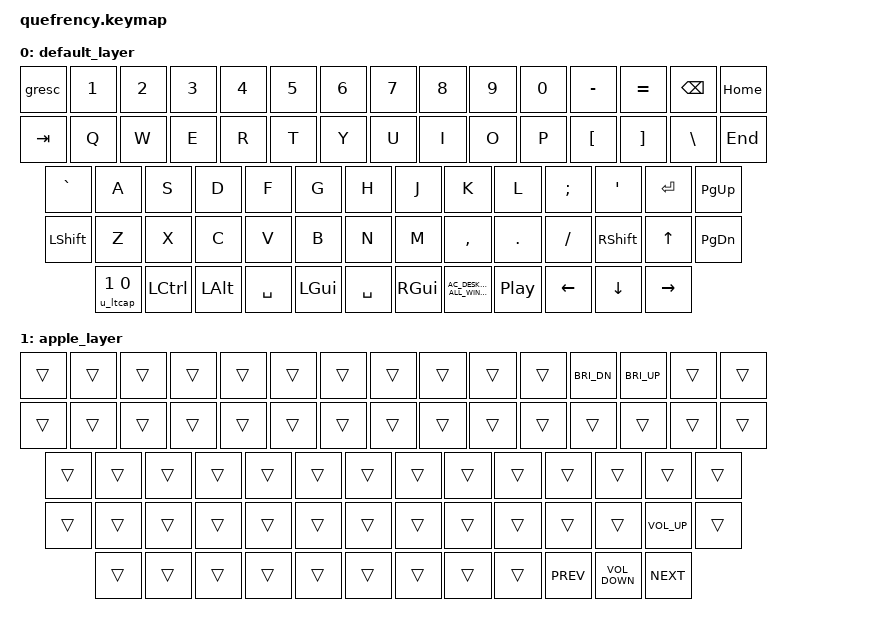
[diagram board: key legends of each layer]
/*
 * Copyright (c) 2020 The ZMK Contributors
 *
 * SPDX-Liicense-Identifier: MIT
 */

#include <behaviors.dtsi>
#include "miryoku_alt.dtsi"
#include <dt-bindings/zmk/keys.h>

/ {
    keymap {
        compatible = "zmk,keymap";

// ----------------------------------------------      -----------------------------------------------------
// | ESC|  1   |  2  |  3   |  4  |  5  |  6  |      |  7  |  8  |  9  |  0  |  -  |  =  |  BKSPC | HOME  |
// | TAB   |  Q   |  W  |  E   |  R  |  T  |        |  Y  |  U  |  I  |  O  |  P  |  [  |  ]  |  \  | END |
// | GRAVE  |  A   |  S  |  D   |  F  |  G  |        |  H  |  J  |  K  |  L  |  ;  |  '  |   ENTER  | PGUP |
// | SHIFT   |  Z   |  X  |  C  |  V   |  B  |        |  N  |  M  |  ,  |  .  |  /  |  RSHFT  |  UP | PGDN |
// | CAPS | LCTRL   | LALT | SPACE |   LGUI   |         |    SPACE    | RGUI | C_PLAY_PAUSE | XXX | LFT | DWN | RGHT |
// -------------------------------------------        ------------------------------------------------------

        default_layer {
            bindings = <
    &gresc    &kp N1   &kp N2   &kp N3    &kp N4 &kp N5 &kp N6 /**/ &kp N7    &kp N8   &kp N9    &kp N0    &kp MINUS &kp EQUAL        &kp BSPC &kp HOME
    &kp TAB      &kp Q    &kp W    &kp E     &kp R  &kp T         /**/ &kp Y     &kp U    &kp I     &kp O     &kp P     &kp LBKT         &kp RBKT &kp BSLH &kp END
    &kp GRAVE     &kp A    &kp S    &kp D     &kp F  &kp G         /**/ &kp H     &kp J    &kp K     &kp L     &kp SEMI  &kp SQT          &kp RET  &kp PG_UP
    &kp LSHFT      &kp Z    &kp X    &kp C     &kp V  &kp B         /**/ &kp N     &kp M    &kp COMMA &kp DOT   &kp FSLH  &kp RSHFT        &kp UP   &kp PG_DN
    &u_ltcap 1 0      &kp LCTRL &kp LALT &kp SPACE &kp LGUI           /**/ &kp SPACE &kp RGUI &kp C_AC_DESKTOP_SHOW_ALL_WINDOWS  &kp C_PLAY_PAUSE &kp LEFT  &kp DOWN         &kp RIGHT
            >;
        };

        apple_layer {
            bindings = <
    &trans     &trans    &trans    &trans     &trans &trans &trans /**/ &trans    &trans   &trans    &trans    &kp C_BRI_DN &kp C_BRI_UP        &trans &trans
    &trans       &trans    &trans    &trans     &trans  &trans         /**/ &trans     &trans    &trans     &trans     &trans     &trans         &trans &trans &trans
    &trans         &trans    &trans    &trans     &trans  &trans         /**/ &trans     &trans    &trans     &trans     &trans  &trans          &trans  &trans
    &trans           &trans    &trans    &trans     &trans  &trans         /**/ &trans     &trans    &trans &trans   &trans  &trans        &kp C_VOLUME_UP   &trans
    &trans    &trans &trans &trans &trans           /**/ &trans &trans &trans  &trans &kp C_PREV  &kp C_VOLUME_DOWN         &kp C_NEXT
            >;
        };

    };
};
